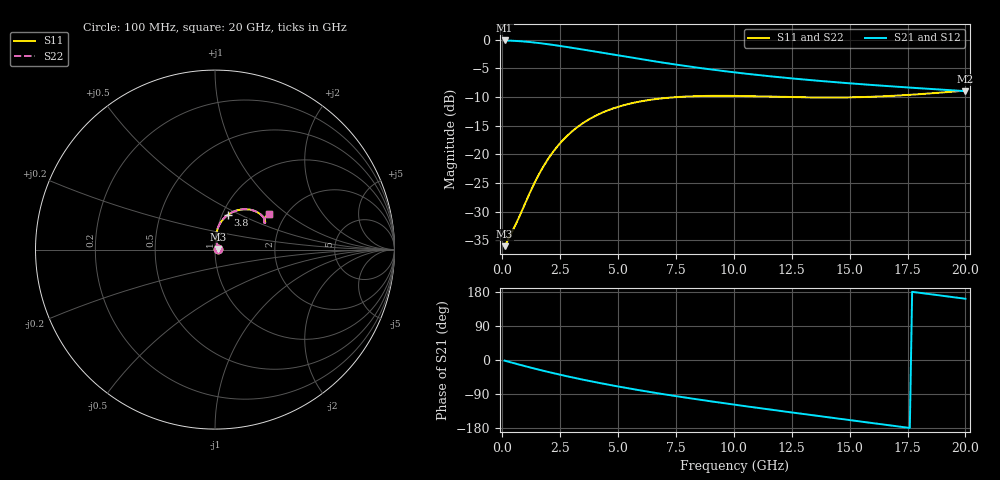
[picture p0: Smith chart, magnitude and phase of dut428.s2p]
! Touchstone file exported from HFSS 2024.1.0
!  File:  C:/UserFiles/LocalFiles/RDL_TSV_Batchsim/temp_RDL_TSV_428_1779719408.aedt
!  Generated:  10:44:40 PM May 25, 2026
!  Design:  RDL_TSV
!  Project:  temp_RDL_TSV_428_1779719408
!  Setup:  Setup1
!  Solution:  Sweep
! Variables:
!  dtsv = 8.65um
!  hbump = 3um
!  htsv = 75.95um
!  ldown = 232.18um
!  lrdl = 521.66um
!  p = 40
!  p1 = 47.87um
!  rhole = 10um
!  subl = 2783.18um
!  t = 450um
!  tdown = 4.15um
!  trdl = 4.12um
!  viad = 10um
!  wdown = 27.11um
!  wrdl = 14.5um
!  xbump = 18um
# GHz S MA R 50.000000
! Terminal data exported
! Port[1] = TM1_1_T1
! Port[2] = TM1_4_T1
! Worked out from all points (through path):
!   200 points, 100 MHz to 20 GHz, reference 50 ohm
!   highest |S21| = -0.14 dB at 100 MHz (marker M1); lowest = -9.0 dB at 20 GHz (marker M2)
!   group delay of S21, straight-line fit = 26 ps
!   lowest |S11| = -36.0 dB at 100 MHz (marker M3), VSWR 1.03, Z = 51.6 + j0.39 ohm
!   |S11| at or under -10 dB: start of sweep to 7.56 GHz; 12.39 GHz to 15.59 GHz (3.208 GHz wide, 22.9 % of centre)
!   |S22| runs from -36.0 to -8.9 dB; largest |S21 - S12| = 7.8e-15
!   S11 on the Smith chart (normalised r, x): 100 MHz: 1.03, +0.01; 3.8 GHz: 1.06, +0.43; 20 GHz: 1.64, +0.75
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0.1  0.01587 13.8  0.9843 -1.7  0.9843 -1.7  0.01586 13.8
! Gamma 0 0 0 0
! Port Impedance 50 0 50 0
0.6  0.025 55.0  0.9748 -10.0  0.9748 -10.0  0.025 55.0
0.9  0.03411 70.1  0.9653 -14.9  0.9653 -14.9  0.03411 70.1
1.4  0.05691 82.5  0.9438 -22.8  0.9438 -22.8  0.05693 82.5
1.9  0.08638 84.9  0.9171 -30.3  0.9171 -30.3  0.08642 84.9
2.2  0.1057 83.9  0.8996 -34.7  0.8996 -34.7  0.1058 83.9
2.6  0.132 81.3  0.8752 -40.3  0.8752 -40.3  0.1321 81.3
3  0.1579 77.7  0.8503 -45.6  0.8503 -45.6  0.158 77.7
3.5  0.1883 72.8  0.8189 -52.1  0.8189 -52.1  0.1884 72.8
3.8  0.2051 69.8  0.8003 -55.8  0.8003 -55.8  0.2052 69.8
4.4  0.2351 64.0  0.7639 -63.0  0.7639 -63.0  0.2352 64.0
5.1  0.2635 57.6  0.7235 -71.0  0.7235 -71.0  0.2637 57.6
5.9  0.288 51.2  0.6805 -79.5  0.6805 -79.5  0.2882 51.2
6.8  0.3065 45.0  0.6369 -88.6  0.6369 -88.6  0.3068 45.0
8.4  0.3221 36.7  0.5715 -103.7  0.5715 -103.7  0.3223 36.7
10.1  0.3234 31.2  0.5169 -118.5  0.5169 -118.5  0.3237 31.1
11.7  0.3185 28.6  0.4766 -131.9  0.4766 -131.9  0.3188 28.6
13.4  0.3138 28.3  0.4426 -145.7  0.4426 -145.7  0.314 28.2
15  0.3143 29.5  0.4165 -158.6  0.4165 -158.6  0.3145 29.4
16.7  0.3227 31.5  0.3932 -172.1  0.3932 -172.1  0.3228 31.3
18.3  0.3381 33.0  0.3741 175.1  0.3741 175.1  0.338 32.9
20  0.3596 33.7  0.356 161.6  0.356 161.6  0.3595 33.5
